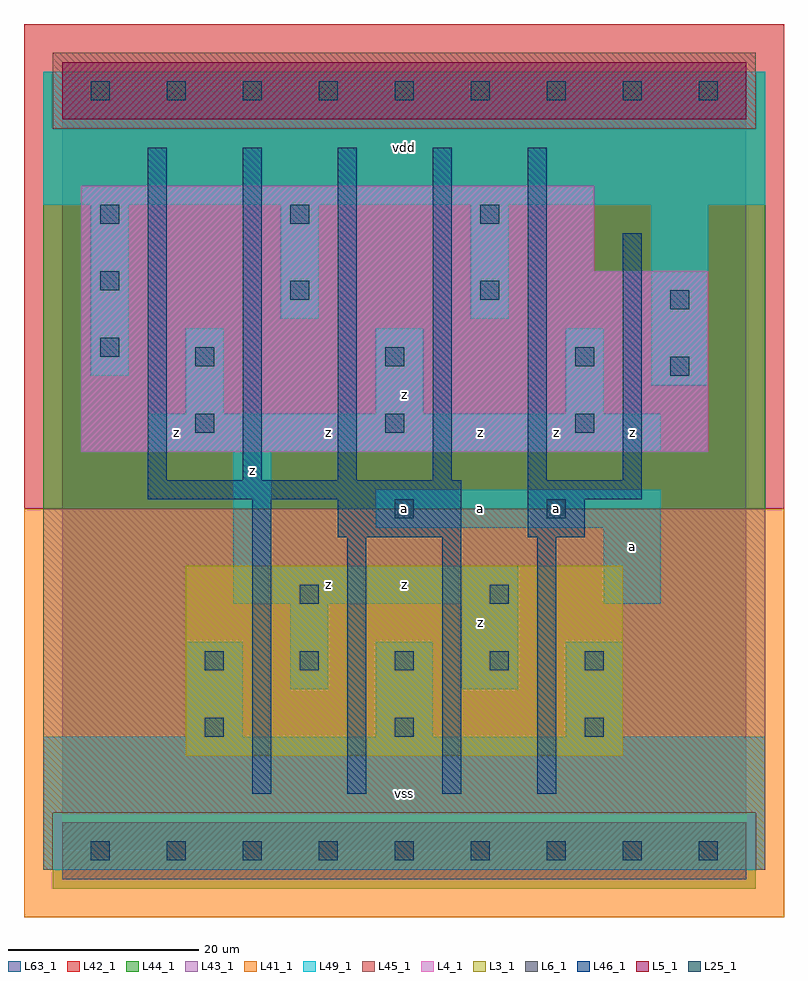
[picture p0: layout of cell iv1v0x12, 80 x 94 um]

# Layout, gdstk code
import gdstk
lib = gdstk.Library(unit=1e-6, precision=1e-09)
def R(c, l, rs):  # rectangles x0, y0, x1, y1
    for r in rs: c.add(gdstk.rectangle(r[:2], r[2:], *l))
def A(c, l, x, y, w, h, nx, ny, dx, dy):  # array of equal rectangles
    R(c, l, [(x+i*dx, y+j*dy, x+i*dx+w, y+j*dy+h) for i in range(nx) for j in range(ny)])
L3_1 = (3, 1)
L4_1 = (4, 1)
L5_1 = (5, 1)
L6_1 = (6, 1)
L25_1 = (25, 1)
L41_1 = (41, 1)
L42_1 = (42, 1)
L43_1 = (43, 1)
L44_1 = (44, 1)
L45_1 = (45, 1)
L46_1 = (46, 1)
L49_1 = (49, 1)
L63_1 = (63, 1)

iv1v0x12 = lib.new_cell('iv1v0x12')
R(iv1v0x12, L3_1, [(13,10,59,30)])
R(iv1v0x12, L4_1, [(2,42,68,61), (2,61,56,70)])
R(iv1v0x12, L5_1, [(0,77,72,83)])
R(iv1v0x12, L6_1, [(0,-3,72,3), (0,-3,72,3)])
A(iv1v0x12, L25_1, 3, -1, 2, 2, 9, 2, 8, 80)
A(iv1v0x12, L25_1, 15, 12, 2, 2, 3, 1, 20, 0)
A(iv1v0x12, L25_1, 15, 19, 2, 2, 5, 1, 10, 0)
A(iv1v0x12, L25_1, 14, 44, 2, 2, 3, 2, 20, 7)
A(iv1v0x12, L25_1, 4, 66, 2, 2, 3, 1, 20, 0)
R(iv1v0x12, L25_1, [(25,26,27,28), (45,26,47,28), (35,35,37,37), (51,35,53,37), (64,50,66,52), (4,52,6,54), (64,57,66,59), (24,58,26,60), (44,58,46,60), (4,59,6,61)])
R(iv1v0x12, L41_1, [(-4,-7,76,36)])
R(iv1v0x12, L42_1, [(-4,36,76,87)])
R(iv1v0x12, L43_1, [(0,-3,72,3), (13,10,59,30), (2,42,68,61), (2,61,56,70), (0,77,72,83)])
R(iv1v0x12, L44_1, [(-1,-4,73,4), (-2,36,74,76), (-2,76,-1,82), (73,76,74,82)])
R(iv1v0x12, L45_1, [(-2,-2,-1,4), (73,-2,74,4), (-2,4,74,36), (-1,76,73,84)])
A(iv1v0x12, L46_1, 30, 6, 2, 27, 3, 1, 10, 0)
A(iv1v0x12, L46_1, 9, 39, 2, 35, 5, 1, 10, 0)
R(iv1v0x12, L46_1, [(20,6,22,37), (29,33,42,37), (49,33,55,37), (9,37,42,39), (49,37,61,39), (59,39,61,65)])
A(iv1v0x12, L49_1, 13, 12, 6, 10, 3, 1, 20, 0)
R(iv1v0x12, L49_1, [(-2,-2,74,12), (24,17,28,26), (42,17,48,26), (18,26,48,30), (57,26,63,34), (18,30,22,42), (33,34,63,38), (9,42,63,46), (13,46,17,55), (33,46,38,55), (53,46,57,55), (62,49,68,68), (3,50,7,68), (23,56,27,68), (43,56,47,68), (-2,68,74,82)])
R(iv1v0x12, L63_1, [(0,0,72,80)])
iv1v0x12.add(gdstk.Label('z', (12,44), layer=49, texttype=1))
iv1v0x12.add(gdstk.Label('z', (20,40), layer=49, texttype=1))
iv1v0x12.add(gdstk.Label('vss', (36,6), layer=49, texttype=1))
iv1v0x12.add(gdstk.Label('z', (28,28), layer=49, texttype=1))
iv1v0x12.add(gdstk.Label('z', (36,28), layer=49, texttype=1))
iv1v0x12.add(gdstk.Label('z', (28,44), layer=49, texttype=1))
iv1v0x12.add(gdstk.Label('a', (36,36), layer=49, texttype=1))
iv1v0x12.add(gdstk.Label('z', (36,48), layer=49, texttype=1))
iv1v0x12.add(gdstk.Label('vdd', (36,74), layer=49, texttype=1))
iv1v0x12.add(gdstk.Label('z', (44,24), layer=49, texttype=1))
iv1v0x12.add(gdstk.Label('a', (44,36), layer=49, texttype=1))
iv1v0x12.add(gdstk.Label('z', (44,44), layer=49, texttype=1))
iv1v0x12.add(gdstk.Label('z', (52,44), layer=49, texttype=1))
iv1v0x12.add(gdstk.Label('a', (52,36), layer=49, texttype=1))
iv1v0x12.add(gdstk.Label('a', (60,32), layer=49, texttype=1))
iv1v0x12.add(gdstk.Label('z', (60,44), layer=49, texttype=1))

lib.write_gds('iv1v0x12.gds')
